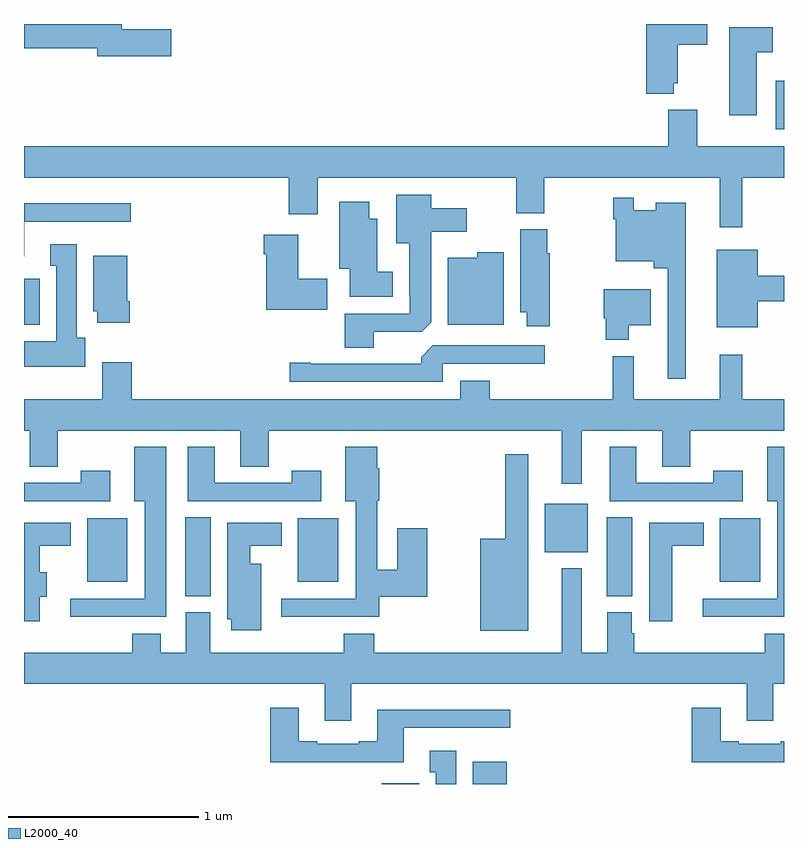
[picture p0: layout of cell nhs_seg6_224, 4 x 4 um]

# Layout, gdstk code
import gdstk
lib = gdstk.Library(unit=1e-6, precision=1e-09)
def R(c, l, rs):  # rectangles x0, y0, x1, y1
    for r in rs: c.add(gdstk.rectangle(r[:2], r[2:], *l))
def P(c, l, *ps):  # polygons
    for p in ps: c.add(gdstk.Polygon(p, *l))
L2000_40 = (2000, 40)

nhs_seg6_224 = lib.new_cell('nhs_seg6_224')
R(nhs_seg6_224, L2000_40, [(124.883,921.5,125.079,921.505), (125.363,921.5,125.542,921.616), (123.848,922.489,123.982,922.904), (126.068,922.489,126.202,922.904), (123.332,922.565,123.544,922.9), (124.442,922.565,124.654,922.9), (126.662,922.565,126.874,922.9), (125.741,922.721,125.968,922.975), (123,923.918,123.082,924.16), (126.956,924.947,127,925.201)])
P(nhs_seg6_224, L2000_40, [(123.775,925.472),(123.514,925.472),(123.514,925.5),(123,925.5),(123,925.372),(123.386,925.372),(123.386,925.33),(123.775,925.33)],
  [(126.42,925.187),(126.442,925.187),(126.442,925.39),(126.595,925.39),(126.595,925.5),(126.275,925.5),(126.275,925.133),(126.42,925.133)],
  [(126.856,925.352),(126.94,925.352),(126.94,925.483),(126.713,925.483),(126.713,925.02),(126.856,925.02)],
  [(126.779,924.692),(127,924.692),(127,924.856),(126.544,924.856),(126.544,925.048),(126.392,925.048),(126.392,924.856),(123,924.856),(123,924.692),(124.394,924.692),(124.394,924.498),(124.546,924.498),(124.546,924.692),(125.591,924.692),(125.591,924.505),(125.739,924.505),(125.739,924.692),(126.662,924.692),(126.662,924.429),(126.779,924.429)],
  [(124.84,923.88),(125.094,923.88),(125.143,923.929),(125.143,924.407),(125.329,924.407),(125.329,924.529),(125.143,924.529),(125.143,924.601),(124.958,924.601),(124.958,924.347),(125.027,924.347),(125.027,924.073),(125.031,924.073),(125.031,923.976),(124.688,923.976),(124.688,923.797),(124.84,923.797)],
  [(126.484,924.559),(126.326,924.559),(126.326,924.52),(126.21,924.52),(126.21,924.586),(126.102,924.586),(126.102,924.473),(126.114,924.473),(126.114,924.251),(126.314,924.251),(126.314,924.215),(126.387,924.215),(126.387,923.634),(126.484,923.634)],
  [(124.942,924.196),(124.858,924.196),(124.858,924.475),(124.816,924.475),(124.816,924.565),(124.658,924.565),(124.658,924.212),(124.715,924.212),(124.715,924.065),(124.942,924.065)],
  [(123.001,924.459),(123.562,924.459),(123.562,924.556),(123,924.556),(123,924.278),(123.001,924.278)],
  [(125.767,924.294),(125.754,924.294),(125.754,924.42),(125.612,924.42),(125.612,923.984),(125.645,923.984),(125.645,923.91),(125.767,923.91)],
  [(124.597,924.159),(124.444,924.159),(124.444,924.391),(124.262,924.391),(124.262,924.287),(124.274,924.287),(124.274,923.996),(124.597,923.996)],
  [(123.322,923.85),(123.277,923.85),(123.277,924.34),(123.137,924.34),(123.137,924.227),(123.17,924.227),(123.17,923.83),(123,923.83),(123,923.696),(123.322,923.696)],
  [(126.862,924.04),(127,924.04),(127,924.176),(126.862,924.176),(126.862,924.313),(126.647,924.313),(126.647,923.903),(126.862,923.903)],
  [(125.524,924.298),(125.385,924.298),(125.385,924.271),(125.231,924.271),(125.231,923.918),(125.524,923.918)],
  [(123.557,924.04),(123.544,924.04),(123.544,924.28),(123.365,924.28),(123.365,923.988),(123.386,923.988),(123.386,923.928),(123.557,923.928)],
  [(126.184,923.915),(126.298,923.915),(126.298,924.103),(126.05,924.103),(126.05,923.952),(126.062,923.952),(126.062,923.837),(126.184,923.837)],
  [(125.205,923.712),(125.74,923.712),(125.74,923.808),(125.151,923.808),(125.09,923.746),(125.09,923.712),(124.51,923.712),(124.51,923.717),(124.398,923.717),(124.398,923.616),(125.205,923.616)],
  [(125.935,923.36),(126.359,923.36),(126.359,923.17),(126.507,923.17),(126.507,923.36),(127,923.36),(127,923.524),(126.779,923.524),(126.779,923.758),(126.662,923.758),(126.662,923.524),(126.209,923.524),(126.209,923.752),(126.099,923.752),(126.099,923.524),(125.45,923.524),(125.45,923.623),(125.297,923.623),(125.297,923.524),(123.566,923.524),(123.566,923.719),(123.413,923.719),(123.413,923.524),(123,923.524),(123,923.36),(123.029,923.36),(123.029,923.17),(123.177,923.17),(123.177,923.36),(124.139,923.36),(124.139,923.17),(124.287,923.17),(124.287,923.36),(125.831,923.36),(125.831,923.079),(125.935,923.079)],
  [(123.748,923.275),(123.581,923.275),(123.581,922.988),(123.635,922.988),(123.635,922.476),(123.243,922.476),(123.243,922.379),(123.748,922.379)],
  [(126.784,923.149),(126.628,923.149),(126.628,923.085),(126.223,923.085),(126.223,923.275),(126.083,923.275),(126.083,922.989),(126.784,922.989)],
  [(124.564,923.149),(124.408,923.149),(124.408,923.085),(124.003,923.085),(124.003,923.275),(123.863,923.275),(123.863,922.989),(124.564,922.989)],
  [(124.871,922.486),(125.122,922.486),(125.122,922.846),(124.964,922.846),(124.964,922.628),(124.858,922.628),(124.858,922.992),(124.871,922.992),(124.871,923.162),(124.858,923.162),(124.858,923.275),(124.691,923.275),(124.691,922.988),(124.745,922.988),(124.745,922.476),(124.353,922.476),(124.353,922.379),(124.871,922.379)],
  [(127,923.275),(126.911,923.275),(126.911,922.988),(126.965,922.988),(126.965,922.476),(126.573,922.476),(126.573,922.379),(127,922.379)],
  [(125.653,923.236),(125.532,923.236),(125.532,922.792),(125.402,922.792),(125.402,922.307),(125.653,922.307)],
  [(123.454,923.149),(123.298,923.149),(123.298,923.085),(123,923.085),(123,922.989),(123.454,922.989)],
  [(123.082,922.486),(123.121,922.486),(123.121,922.615),(123.082,922.615),(123.082,922.754),(123.247,922.754),(123.247,922.876),(123,922.876),(123,922.356),(123.082,922.356)],
  [(124.249,922.66),(124.192,922.66),(124.192,922.754),(124.357,922.754),(124.357,922.876),(124.07,922.876),(124.07,922.368),(124.091,922.368),(124.091,922.308),(124.249,922.308)],
  [(126.412,922.754),(126.577,922.754),(126.577,922.876),(126.29,922.876),(126.29,922.356),(126.412,922.356)],
  [(124.723,922.028),(126.803,922.028),(126.803,921.834),(126.943,921.834),(126.943,922.028),(127,922.028),(127,922.291),(126.899,922.291),(126.899,922.192),(126.212,922.192),(126.212,922.293),(126.199,922.293),(126.199,922.404),(126.071,922.404),(126.071,922.192),(125.935,922.192),(125.935,922.636),(125.831,922.636),(125.831,922.192),(124.844,922.192),(124.844,922.291),(124.684,922.291),(124.684,922.192),(123.979,922.192),(123.979,922.404),(123.851,922.404),(123.851,922.192),(123.721,922.192),(123.721,922.291),(123.569,922.291),(123.569,922.192),(123,922.192),(123,922.028),(124.583,922.028),(124.583,921.834),(124.723,921.834)],
  [(127,921.724),(126.983,921.724),(126.983,921.711),(126.763,921.711),(126.763,921.724),(126.667,921.724),(126.667,921.901),(126.515,921.901),(126.515,921.614),(127,921.614)],
  [(124.999,921.795),(125.56,921.795),(125.56,921.892),(124.859,921.892),(124.859,921.724),(124.763,921.724),(124.763,921.711),(124.543,921.711),(124.543,921.724),(124.447,921.724),(124.447,921.901),(124.295,921.901),(124.295,921.614),(124.999,921.614)],
  [(125.275,921.676),(125.135,921.676),(125.135,921.563),(125.168,921.563),(125.168,921.5),(125.275,921.5)])

lib.write_gds('nhs_seg6_224.gds')
